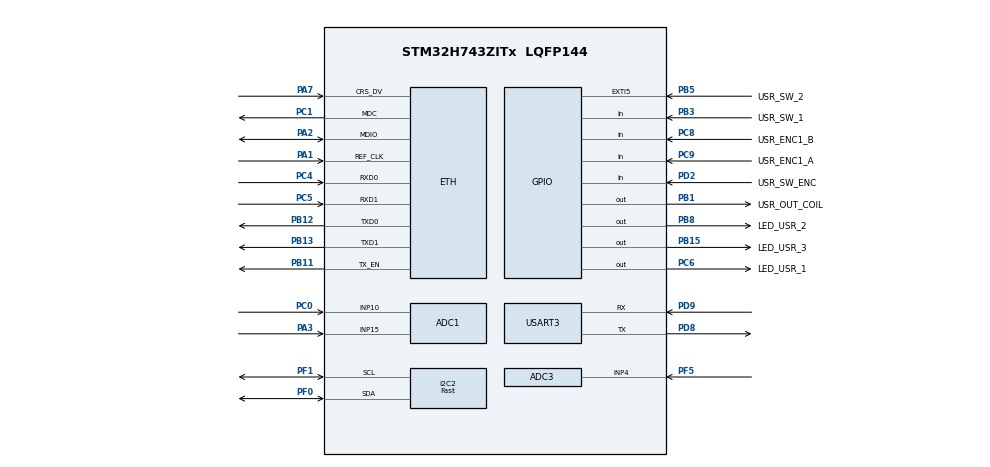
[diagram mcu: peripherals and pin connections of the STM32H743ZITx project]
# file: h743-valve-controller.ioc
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ADC1.Channel-0\#ChannelRegularConversion=ADC_CHANNEL_15
ADC1.ContinuousConvMode=ENABLE
ADC1.EOCSelection=ADC_EOC_SEQ_CONV
ADC1.EnableInjectedConversion=DISABLE
ADC1.NbrOfConversionFlag=1
ADC1.OffsetNumber-0\#ChannelRegularConversion=ADC_OFFSET_NONE
ADC1.OffsetSignedSaturation-0\#ChannelRegularConversion=DISABLE
ADC1.Rank-0\#ChannelRegularConversion=1
ADC1.SamplingTime-0\#ChannelRegularConversion=ADC_SAMPLETIME_1CYCLE_5
ADC1.master=1
ADC3.Channel-0\#ChannelRegularConversion=ADC_CHANNEL_4
ADC3.ExternalTrigConv=ADC_EXTERNALTRIG_T3_CC4
ADC3.ExternalTrigConvEdge=ADC_EXTERNALTRIGCONVEDGE_FALLING
ADC3.NbrOfConversionFlag=1
ADC3.OffsetNumber-0\#ChannelRegularConversion=ADC_OFFSET_NONE
ADC3.OffsetSignedSaturation-0\#ChannelRegularConversion=DISABLE
ADC3.Rank-0\#ChannelRegularConversion=1
ADC3.SamplingTime-0\#ChannelRegularConversion=ADC_SAMPLETIME_1CYCLE_5
CORTEX_M7.default_mode_Activation=1
ETH.MediaInterface=HAL_ETH_RMII_MODE
I2C2.I2C_Speed_Mode=I2C_Fast
I2C2.Timing=0x00000004
LWIP.BSP.number=1
LWIP.Version=v2.1.2_Cube
LWIP0.BSP.STBoard=false
LWIP0.BSP.api=BSP_COMPONENT_DRIVER
LWIP0.BSP.component=LAN8742
LWIP0.BSP.instance=LAN8742
LWIP0.BSP.name=Driver_PHY
LWIP0.BSP.semaphore=S_LAN8742
LWIP0.BSP.solution=LAN8742
Mcu.Family=STM32H7
Mcu.Name=STM32H743ZITx
Mcu.Package=LQFP144
NVIC.ADC3_IRQn=true\:0\:0\:false\:false\:true\:true\:true\:true
NVIC.ADC_IRQn=true\:0\:0\:false\:false\:true\:true\:true\:true
NVIC.EXTI9_5_IRQn=true\:0\:0\:false\:false\:true\:true\:true\:true
NVIC.PriorityGroup=NVIC_PRIORITYGROUP_4
PA1.Mode=RMII
PA1.Signal=ETH_REF_CLK
PA2.Mode=RMII
PA2.Signal=ETH_MDIO
PA3.Signal=ADCx_INP15
PA7.Mode=RMII
PA7.Signal=ETH_CRS_DV
PB1.GPIO_Label=USR_OUT_COIL
PB1.Signal=GPIO_Output
PB11.Mode=RMII
PB11.Signal=ETH_TX_EN
PB12.Mode=RMII
PB12.Signal=ETH_TXD0
PB13.Mode=RMII
PB13.Signal=ETH_TXD1
PB15.GPIO_Label=LED_USR_3
PB15.Signal=GPIO_Output
PB3\ (JTDO/TRACESWO).GPIO_Label=USR_SW_1
PB3\ (JTDO/TRACESWO).Signal=GPIO_Input
PB5.GPIO_Label=USR_SW_2
PB5.Signal=GPXTI5
PB8.GPIO_Label=LED_USR_2
PB8.Signal=GPIO_Output
PC0.Signal=ADCx_INP10
PC1.Mode=RMII
PC1.Signal=ETH_MDC
PC4.Mode=RMII
PC4.Signal=ETH_RXD0
PC5.Mode=RMII
PC5.Signal=ETH_RXD1
PC6.GPIO_Label=LED_USR_1
PC6.Signal=GPIO_Output
PC8.GPIO_Label=USR_ENC1_B
PC8.Signal=GPIO_Input
PC9.GPIO_Label=USR_ENC1_A
PC9.Signal=GPIO_Input
PD2.GPIO_Label=USR_SW_ENC
PD2.Signal=GPIO_Input
PD8.Mode=Asynchronous
PD8.Signal=USART3_TX
PD9.Mode=Asynchronous
PD9.Signal=USART3_RX
PF0.Mode=I2C
PF0.Signal=I2C2_SDA
PF1.Mode=I2C
PF1.Signal=I2C2_SCL
PF5.Mode=IN4-Single-Ended
PF5.Signal=ADC3_INP4
ProjectManager.HeapSize=0x200
ProjectManager.StackSize=0x400
ProjectManager.TargetToolchain=CMake
RCC.ADCFreq_Value=80000000
RCC.APB1Freq_Value=40000000
RCC.APB2Freq_Value=80000000
RCC.APB3Freq_Value=80000000
RCC.APB4Freq_Value=80000000
RCC.CortexFreq_Value=320000000
RCC.D1PPRE=RCC_APB3_DIV2
RCC.D2PPRE1=RCC_APB1_DIV4
RCC.D2PPRE2=RCC_APB2_DIV2
RCC.D3PPRE=RCC_APB4_DIV2
RCC.DIVM1=4
RCC.DIVM2=4
RCC.DIVN1=40
RCC.DIVN2=10
RCC.DIVQ2=3
RCC.HCLKFreq_Value=160000000
RCC.HPRE=RCC_HCLK_DIV2
RCC.I2C123CLockSelection=RCC_I2C123CLKSOURCE_CSI
RCC.PLL2FRACN=0
RCC.PLLFRACN=0
RCC.SYSCLKFreq_VALUE=320000000
RCC.SYSCLKSource=RCC_SYSCLKSOURCE_PLLCLK
RCC.USBFreq_Value=320000000
SH.ADCx_INP10.0=ADC1_INP10,IN10-Single-Ended
SH.ADCx_INP15.0=ADC1_INP15,IN15-Single-Ended
USART3.VirtualMode-Asynchronous=VM_ASYNC
VP_LWIP_VS_Enabled.Mode=Enabled
VP_MEMORYMAP_VS_MEMORYMAP.Mode=CurAppReg
board=custom

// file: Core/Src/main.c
/* USER CODE BEGIN Header */
/**
  ******************************************************************************
  * @file           : main.c
  * @brief          : Main program body
  ******************************************************************************
  * @attention
  *
  * Copyright (c) 2024 STMicroelectronics.
  * All rights reserved.
  *
  * This software is licensed under terms that can be found in the LICENSE file
  * in the root directory of this software component.
  * If no LICENSE file comes with this software, it is provided AS-IS.
  *
  ******************************************************************************
  */
/* USER CODE END Header */
#include "main.h"
#include "adc.h"
#include "i2c.h"
#include "lwip.h"
#include "memorymap.h"
#include "usart.h"
#include "gpio.h"

/* USER CODE BEGIN Includes */
#include <stdio.h>
#include "global.h"
#include "button.h"
#include "rotary-encoder.h"

#include "ssd1306.h"
#include "ssd1306_fonts.h"
/* USER CODE END Includes */

void SystemClock_Config(void);
void PeriphCommonClock_Config(void);
static void MPU_Config(void);

int main(void)
{

  /* MPU Configuration--------------------------------------------------------*/
  MPU_Config();

  /* MCU Configuration--------------------------------------------------------*/

  /* Reset of all peripherals, Initializes the Flash interface and the Systick. */
  HAL_Init();

  /* Configure the system clock */
  SystemClock_Config();

  /* Configure the peripherals common clocks */
  PeriphCommonClock_Config();

  /* Initialize all configured peripherals */
  MX_GPIO_Init();
  MX_I2C2_Init();
  MX_USART3_UART_Init();
  MX_ADC1_Init();
  MX_ADC3_Init();
  MX_LWIP_Init();
  /* USER CODE BEGIN 2 */
  LL_EXTI_EnableIT_0_31(LL_EXTI_LINE_3);
  LL_EXTI_EnableIT_0_31(LL_EXTI_LINE_5);

  //ssd1306_Init();

  /* USER CODE BEGIN 2 */
  //LL_TIM_EnableCounter(TIM3);
  //LL_TIM_CC_EnableChannel(TIM3, LL_TIM_CHANNEL_CH4);s
  LL_SYSTICK_EnableIT();

  LC_Button_Init();
  LC_RotaryEncoder_Init();

  ssd1306_Init();
  ssd1306_Fill(White);
  ssd1306_UpdateScreen();

  /* USER CODE END 2 */

  /* Infinite loop */
  while (1)
  {

    /* USER CODE BEGIN 3 */
    //printf("Encoder: %d\n", (uint32_t)rotaryEncoder_GetCounter());
    LC_Button_Handler();
    LC_RotaryEncoder_Handler();
    //LL_TIM_OC_SetCompareCH4(TIM3, rotaryEncoder_GetCounter());
  }
  /* USER CODE END 3 */
}

void SystemClock_Config(void)
{
  LL_FLASH_SetLatency(LL_FLASH_LATENCY_2);
  while(LL_FLASH_GetLatency()!= LL_FLASH_LATENCY_2)
  {
  }
  LL_PWR_ConfigSupply(LL_PWR_LDO_SUPPLY);
  LL_PWR_SetRegulVoltageScaling(LL_PWR_REGU_VOLTAGE_SCALE1);
  while (LL_PWR_IsActiveFlag_VOS() == 0)
  {
  }
  LL_RCC_HSI_Enable();

   /* Wait till HSI is ready */
  while(LL_RCC_HSI_IsReady() != 1)
  {

  }
  LL_RCC_HSI_SetCalibTrimming(64);
  LL_RCC_HSI_SetDivider(LL_RCC_HSI_DIV1);
  LL_RCC_CSI_Enable();

   /* Wait till LSI is ready */
  while(LL_RCC_CSI_IsReady() != 1)
  {
  }

  LL_RCC_PLL_SetSource(LL_RCC_PLLSOURCE_HSI);
  LL_RCC_PLL1P_Enable();
  LL_RCC_PLL1_SetVCOInputRange(LL_RCC_PLLINPUTRANGE_8_16);
  LL_RCC_PLL1_SetVCOOutputRange(LL_RCC_PLLVCORANGE_WIDE);
  LL_RCC_PLL1_SetM(4);
  LL_RCC_PLL1_SetN(40);
  LL_RCC_PLL1_SetP(2);
  LL_RCC_PLL1_SetQ(2);
  LL_RCC_PLL1_SetR(2);
  LL_RCC_PLL1_Enable();

   /* Wait till PLL is ready */
  while(LL_RCC_PLL1_IsReady() != 1)
  {
  }

   /* Intermediate AHB prescaler 2 when target frequency clock is higher than 80 MHz */
   LL_RCC_SetAHBPrescaler(LL_RCC_AHB_DIV_2);

  LL_RCC_SetSysClkSource(LL_RCC_SYS_CLKSOURCE_PLL1);

   /* Wait till System clock is ready */
  while(LL_RCC_GetSysClkSource() != LL_RCC_SYS_CLKSOURCE_STATUS_PLL1)
  {

  }
  LL_RCC_SetSysPrescaler(LL_RCC_SYSCLK_DIV_1);
  LL_RCC_SetAHBPrescaler(LL_RCC_AHB_DIV_2);
  LL_RCC_SetAPB1Prescaler(LL_RCC_APB1_DIV_4);
  LL_RCC_SetAPB2Prescaler(LL_RCC_APB2_DIV_2);
  LL_RCC_SetAPB3Prescaler(LL_RCC_APB3_DIV_2);
  LL_RCC_SetAPB4Prescaler(LL_RCC_APB4_DIV_2);
  LL_SetSystemCoreClock(320000000);

   /* Update the time base */
  if (HAL_InitTick (TICK_INT_PRIORITY) != HAL_OK)
  {
    Error_Handler();
  }
}

void PeriphCommonClock_Config(void)
{
  LL_RCC_PLL2P_Enable();
  LL_RCC_PLL2_SetVCOInputRange(LL_RCC_PLLINPUTRANGE_8_16);
  LL_RCC_PLL2_SetVCOOutputRange(LL_RCC_PLLVCORANGE_MEDIUM);
  LL_RCC_PLL2_SetM(4);
  LL_RCC_PLL2_SetN(10);
  LL_RCC_PLL2_SetP(2);
  LL_RCC_PLL2_SetQ(3);
  LL_RCC_PLL2_SetR(2);
  LL_RCC_PLL2_Enable();

   /* Wait till PLL is ready */
  while(LL_RCC_PLL2_IsReady() != 1)
  {
  }

}

/* USER CODE BEGIN 4 */

int __io_putchar(int ch)
{
  /* Place your implementation of fputc here */
  /* e.g. write a character to the USART1 and Loop until the end of transmission */
  //HAL_UART_Transmit(&husart3, (uint8_t *)&ch, 1, 0xFFFF);
  LL_USART_TransmitData8(USART3, ch);

  while(LL_USART_IsActiveFlag_TXE_TXFNF(USART3) == 0){};

  return ch;
}

/* USER CODE END 4 */

 /* MPU Configuration */

void MPU_Config(void)
{

  /* Disables the MPU */
  LL_MPU_Disable();

  /** Initializes and configures the Region and the memory to be protected
  */
  LL_MPU_ConfigRegion(LL_MPU_REGION_NUMBER0, 0x87, 0x0, LL_MPU_REGION_SIZE_4GB|LL_MPU_TEX_LEVEL0|LL_MPU_REGION_NO_ACCESS|LL_MPU_INSTRUCTION_ACCESS_DISABLE|LL_MPU_ACCESS_SHAREABLE|LL_MPU_ACCESS_NOT_CACHEABLE|LL_MPU_ACCESS_NOT_BUFFERABLE);
  /* Enables the MPU */
  LL_MPU_Enable(LL_MPU_CTRL_PRIVILEGED_DEFAULT);

}

void Error_Handler(void)
{
  __disable_irq();
  while (1)
  {
  }
}
